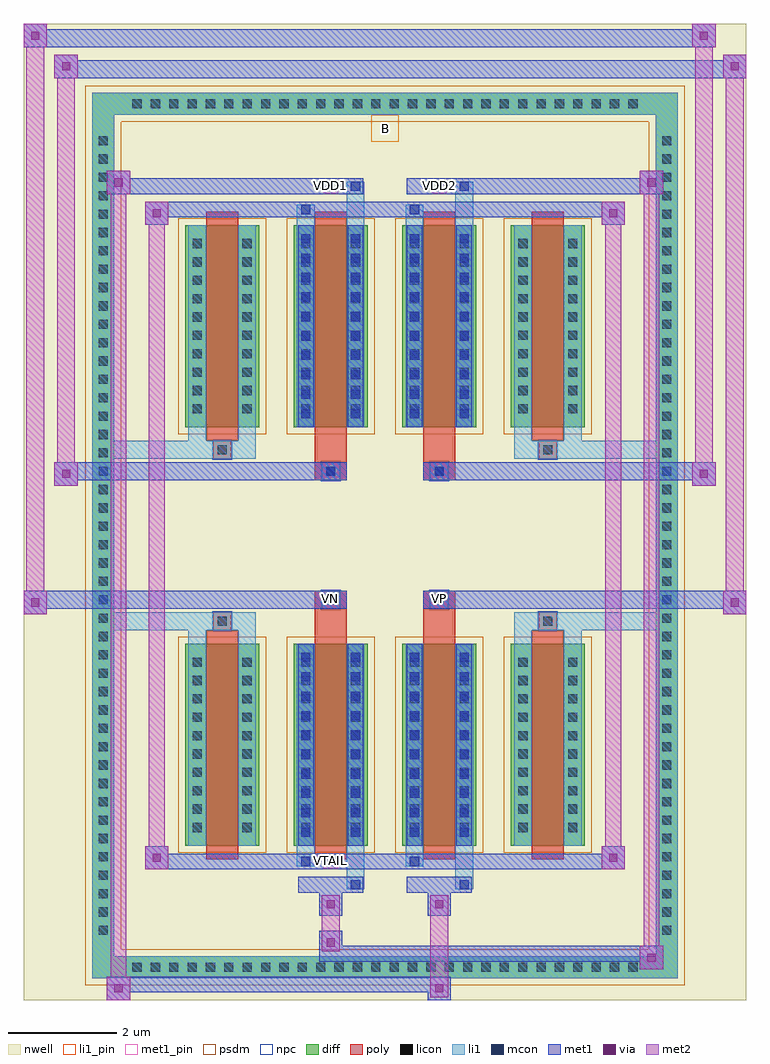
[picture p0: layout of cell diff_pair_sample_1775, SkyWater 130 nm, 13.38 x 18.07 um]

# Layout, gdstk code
import gdstk
lib = gdstk.Library(unit=1e-6, precision=5e-09)
def R(c, l, rs):  # rectangles x0, y0, x1, y1
    for r in rs: c.add(gdstk.rectangle(r[:2], r[2:], *l))
def A(c, l, x, y, w, h, nx, ny, dx, dy):  # array of equal rectangles
    R(c, l, [(x+i*dx, y+j*dy, x+i*dx+w, y+j*dy+h) for i in range(nx) for j in range(ny)])
def P(c, l, *ps):  # polygons
    for p in ps: c.add(gdstk.Polygon(p, *l))
nwell = (64, 20)
diff = (65, 20)
poly = (66, 20)
licon = (66, 44)
li1_pin = (67, 16)
li1 = (67, 20)
mcon = (67, 44)
met1_pin = (68, 16)
met1 = (68, 20)
via = (68, 44)
met2 = (69, 20)
psdm = (94, 20)
npc = (95, 20)

diff_pair_sample_1775 = lib.new_cell('diff_pair_sample_1775')
R(diff_pair_sample_1775, nwell, [(-6.69,-8.6,6.69,9.47), (-4.01,-6.79,-0.01,-0.825), (0.01,-6.79,4.01,-0.825), (-4.01,0.825,-0.01,6.79), (0.01,0.825,4.01,6.79)])
A(diff_pair_sample_1775, diff, -4.795, -8.2, 0.41, 0.41, 28, 2, 0.34, 15.99)
A(diff_pair_sample_1775, diff, -5.42, -7.515, 0.41, 0.41, 1, 44, 0, 0.34)
A(diff_pair_sample_1775, diff, 5.01, -7.515, 0.41, 0.41, 1, 44, 0, 0.34)
A(diff_pair_sample_1775, diff, -3.7, -5.745, 1.37, 3.74, 4, 2, 2.01, 7.75)
R(diff_pair_sample_1775, diff, [(-4.795,-8.2,4.795,-7.79), (-5.42,-7.515,-5.01,7.515), (5.01,-7.515,5.42,7.515), (-4.795,7.79,4.795,8.2)])
P(diff_pair_sample_1775, diff, [(5.42,8.2),(-5.42,8.2),(-5.42,-7.79),(-5.01,-7.79),(-5.01,7.79),(5.01,7.79),(5.01,-7.79),(-5.01,-7.79),(-5.42,-7.79),(-5.42,-8.2),(5.42,-8.2)])
A(diff_pair_sample_1775, poly, -3.31, -5.995, 0.59, 4.24, 4, 2, 2.01, 7.75)
R(diff_pair_sample_1775, poly, [(-3.18,-1.755,-2.85,-1.425), (-3.18,-1.755,-2.85,-1.425), (-1.3,-1.755,-0.71,-1.355), (0.71,-1.755,1.3,-1.355), (2.85,-1.755,3.18,-1.425), (2.85,-1.755,3.18,-1.425), (-1.3,-1.355,-0.71,-1.025), (-1.17,-1.355,-0.84,-1.025), (0.71,-1.355,1.3,-1.025), (0.84,-1.355,1.17,-1.025), (-1.3,1.025,-0.71,1.355), (-1.17,1.025,-0.84,1.355), (0.71,1.025,1.3,1.355), (0.84,1.025,1.17,1.355), (-1.3,1.355,-0.71,1.755), (0.71,1.355,1.3,1.755), (-3.18,1.425,-2.85,1.755), (-3.18,1.425,-2.85,1.755), (2.85,1.425,3.18,1.755), (2.85,1.425,3.18,1.755)])
A(diff_pair_sample_1775, licon, -4.675, -8.08, 0.17, 0.17, 28, 2, 0.34, 15.99)
A(diff_pair_sample_1775, licon, -5.3, -7.395, 0.17, 0.17, 1, 44, 0, 0.34)
A(diff_pair_sample_1775, licon, 5.13, -7.395, 0.17, 0.17, 1, 44, 0, 0.34)
A(diff_pair_sample_1775, licon, -3.56, -5.49, 0.17, 0.17, 1, 10, 0, 0.34)
A(diff_pair_sample_1775, licon, -2.64, -5.49, 0.17, 0.17, 1, 10, 0, 0.34)
A(diff_pair_sample_1775, licon, -1.55, -5.49, 0.17, 0.17, 1, 10, 0, 0.34)
A(diff_pair_sample_1775, licon, -0.63, -5.49, 0.17, 0.17, 1, 10, 0, 0.34)
A(diff_pair_sample_1775, licon, 0.46, -5.49, 0.17, 0.17, 1, 10, 0, 0.34)
A(diff_pair_sample_1775, licon, 1.38, -5.49, 0.17, 0.17, 1, 10, 0, 0.34)
A(diff_pair_sample_1775, licon, 2.47, -5.49, 0.17, 0.17, 1, 10, 0, 0.34)
A(diff_pair_sample_1775, licon, 3.39, -5.49, 0.17, 0.17, 1, 10, 0, 0.34)
A(diff_pair_sample_1775, licon, -3.56, 2.26, 0.17, 0.17, 1, 10, 0, 0.34)
A(diff_pair_sample_1775, licon, -2.64, 2.26, 0.17, 0.17, 1, 10, 0, 0.34)
A(diff_pair_sample_1775, licon, -1.55, 2.26, 0.17, 0.17, 1, 10, 0, 0.34)
A(diff_pair_sample_1775, licon, -0.63, 2.26, 0.17, 0.17, 1, 10, 0, 0.34)
A(diff_pair_sample_1775, licon, 0.46, 2.26, 0.17, 0.17, 1, 10, 0, 0.34)
A(diff_pair_sample_1775, licon, 1.38, 2.26, 0.17, 0.17, 1, 10, 0, 0.34)
A(diff_pair_sample_1775, licon, 2.47, 2.26, 0.17, 0.17, 1, 10, 0, 0.34)
A(diff_pair_sample_1775, licon, 3.39, 2.26, 0.17, 0.17, 1, 10, 0, 0.34)
R(diff_pair_sample_1775, licon, [(-3.1,-1.675,-2.93,-1.505), (2.93,-1.675,3.1,-1.505), (-1.09,-1.275,-0.92,-1.105), (0.92,-1.275,1.09,-1.105), (-1.09,1.105,-0.92,1.275), (0.92,1.105,1.09,1.275), (-3.1,1.505,-2.93,1.675), (2.93,1.505,3.1,1.675)])
R(diff_pair_sample_1775, li1_pin, [(-0.25,7.29,0.25,7.79)])
A(diff_pair_sample_1775, li1, -4.755, -8.16, 0.33, 0.33, 28, 2, 0.34, 15.99)
A(diff_pair_sample_1775, li1, -5.38, -7.475, 0.33, 0.33, 1, 44, 0, 0.34)
A(diff_pair_sample_1775, li1, 5.05, -7.475, 0.33, 0.33, 1, 44, 0, 0.34)
A(diff_pair_sample_1775, li1, -1.55, -5.58, 0.17, 0.17, 1, 10, 0, 0.36)
A(diff_pair_sample_1775, li1, -0.63, -5.58, 0.17, 0.17, 1, 10, 0, 0.36)
A(diff_pair_sample_1775, li1, 0.46, -5.58, 0.17, 0.17, 1, 10, 0, 0.36)
A(diff_pair_sample_1775, li1, 1.38, -5.58, 0.17, 0.17, 1, 10, 0, 0.36)
A(diff_pair_sample_1775, li1, -3.64, -5.57, 0.33, 0.33, 1, 10, 0, 0.34)
A(diff_pair_sample_1775, li1, -2.72, -5.57, 0.33, 0.33, 1, 10, 0, 0.34)
A(diff_pair_sample_1775, li1, -1.63, -5.57, 0.33, 0.33, 1, 10, 0, 0.34)
A(diff_pair_sample_1775, li1, -0.71, -5.57, 0.33, 0.33, 1, 10, 0, 0.34)
A(diff_pair_sample_1775, li1, 0.38, -5.57, 0.33, 0.33, 1, 10, 0, 0.34)
A(diff_pair_sample_1775, li1, 1.3, -5.57, 0.33, 0.33, 1, 10, 0, 0.34)
A(diff_pair_sample_1775, li1, 2.39, -5.57, 0.33, 0.33, 1, 10, 0, 0.34)
A(diff_pair_sample_1775, li1, 3.31, -5.57, 0.33, 0.33, 1, 10, 0, 0.34)
A(diff_pair_sample_1775, li1, -1.55, 2.17, 0.17, 0.17, 1, 10, 0, 0.36)
A(diff_pair_sample_1775, li1, -0.63, 2.17, 0.17, 0.17, 1, 10, 0, 0.36)
A(diff_pair_sample_1775, li1, 0.46, 2.17, 0.17, 0.17, 1, 10, 0, 0.36)
A(diff_pair_sample_1775, li1, 1.38, 2.17, 0.17, 0.17, 1, 10, 0, 0.36)
A(diff_pair_sample_1775, li1, -3.64, 2.18, 0.33, 0.33, 1, 10, 0, 0.34)
A(diff_pair_sample_1775, li1, -2.72, 2.18, 0.33, 0.33, 1, 10, 0, 0.34)
A(diff_pair_sample_1775, li1, -1.63, 2.18, 0.33, 0.33, 1, 10, 0, 0.34)
A(diff_pair_sample_1775, li1, -0.71, 2.18, 0.33, 0.33, 1, 10, 0, 0.34)
A(diff_pair_sample_1775, li1, 0.38, 2.18, 0.33, 0.33, 1, 10, 0, 0.34)
A(diff_pair_sample_1775, li1, 1.3, 2.18, 0.33, 0.33, 1, 10, 0, 0.34)
A(diff_pair_sample_1775, li1, 2.39, 2.18, 0.33, 0.33, 1, 10, 0, 0.34)
A(diff_pair_sample_1775, li1, 3.31, 2.18, 0.33, 0.33, 1, 10, 0, 0.34)
R(diff_pair_sample_1775, li1, [(-5.42,-8.2,-5.01,-7.79), (-5.42,-8.2,-5.01,-7.79), (-5.01,-8.2,5.01,-7.79), (5.01,-8.2,5.42,-7.79), (5.01,-8.2,5.42,-7.79), (-5.42,-7.79,-5.01,7.79), (5.01,-7.79,5.42,7.79), (-0.71,-6.55,-0.38,-5.745), (-0.63,-6.55,-0.46,-6.38), (1.3,-6.55,1.63,-5.745), (1.38,-6.55,1.55,-6.38), (-1.63,-6.12,-1.3,-5.745), (-1.55,-6.12,-1.38,-5.95), (0.38,-6.12,0.71,-5.745), (0.46,-6.12,0.63,-5.95), (-3.64,-5.745,-3.31,-2.005), (-2.72,-5.745,-2.39,-2.005), (-1.63,-5.745,-1.3,-2.005), (-0.71,-5.745,-0.38,-2.005), (0.38,-5.745,0.71,-2.005), (1.3,-5.745,1.63,-2.005), (2.39,-5.745,2.72,-2.005), (3.31,-5.745,3.64,-2.005), (-1.55,-5.58,-1.38,-2.17), (-0.63,-5.58,-0.46,-2.17), (0.46,-5.58,0.63,-2.17), (1.38,-5.58,1.55,-2.17), (-3.64,-2.005,-3.31,-1.425), (-2.72,-2.005,-2.39,-1.425), (2.39,-2.005,2.72,-1.425), (3.31,-2.005,3.64,-1.425), (-5.42,-1.755,-3.18,-1.425), (-3.64,-1.755,-3.18,-1.425), (-3.18,-1.755,-2.85,-1.425), (-2.85,-1.755,-2.39,-1.425), (2.39,-1.755,2.85,-1.425), (2.85,-1.755,3.18,-1.425), (2.85,-1.755,5.42,-1.425), (3.18,-1.755,3.64,-1.425), (-1.17,-1.355,-0.84,-1.025), (0.84,-1.355,1.17,-1.025), (-1.17,1.025,-0.84,1.355), (0.84,1.025,1.17,1.355), (-5.42,1.425,-3.18,1.755), (-3.64,1.425,-3.18,1.755), (-3.64,1.425,-3.31,2.005), (-3.18,1.425,-2.85,1.755), (-2.85,1.425,-2.39,1.755), (-2.72,1.425,-2.39,2.005), (2.39,1.425,2.85,1.755), (2.39,1.425,2.72,2.005), (2.85,1.425,3.18,1.755), (2.85,1.425,5.42,1.755), (3.18,1.425,3.64,1.755), (3.31,1.425,3.64,2.005), (-3.64,2.005,-3.31,5.745), (-2.72,2.005,-2.39,5.745), (-1.63,2.005,-1.3,5.745), (-0.71,2.005,-0.38,5.745), (0.38,2.005,0.71,5.745), (1.3,2.005,1.63,5.745), (2.39,2.005,2.72,5.745), (3.31,2.005,3.64,5.745), (-1.55,2.17,-1.38,5.58), (-0.63,2.17,-0.46,5.58), (0.46,2.17,0.63,5.58), (1.38,2.17,1.55,5.58), (-1.63,5.745,-1.3,6.12), (-0.71,5.745,-0.38,6.55), (0.38,5.745,0.71,6.12), (1.3,5.745,1.63,6.55), (-1.55,5.95,-1.38,6.12), (0.46,5.95,0.63,6.12), (-0.63,6.38,-0.46,6.55), (1.38,6.38,1.55,6.55), (-5.42,7.79,-5.01,8.2), (-5.42,7.79,-5.01,8.2), (-5.01,7.79,5.01,8.2), (5.01,7.79,5.42,8.2), (5.01,7.79,5.42,8.2)])
A(diff_pair_sample_1775, mcon, -1.55, -5.58, 0.17, 0.17, 1, 10, 0, 0.36)
A(diff_pair_sample_1775, mcon, -0.63, -5.58, 0.17, 0.17, 1, 10, 0, 0.36)
A(diff_pair_sample_1775, mcon, 0.46, -5.58, 0.17, 0.17, 1, 10, 0, 0.36)
A(diff_pair_sample_1775, mcon, 1.38, -5.58, 0.17, 0.17, 1, 10, 0, 0.36)
A(diff_pair_sample_1775, mcon, -1.55, 2.17, 0.17, 0.17, 1, 10, 0, 0.36)
A(diff_pair_sample_1775, mcon, -0.63, 2.17, 0.17, 0.17, 1, 10, 0, 0.36)
A(diff_pair_sample_1775, mcon, 0.46, 2.17, 0.17, 0.17, 1, 10, 0, 0.36)
A(diff_pair_sample_1775, mcon, 1.38, 2.17, 0.17, 0.17, 1, 10, 0, 0.36)
R(diff_pair_sample_1775, mcon, [(-0.63,-6.55,-0.46,-6.38), (1.38,-6.55,1.55,-6.38), (-1.55,-6.12,-1.38,-5.95), (0.46,-6.12,0.63,-5.95), (-1.09,-1.275,-0.92,-1.105), (0.92,-1.275,1.09,-1.105), (-1.09,1.105,-0.92,1.275), (0.92,1.105,1.09,1.275), (-1.55,5.95,-1.38,6.12), (0.46,5.95,0.63,6.12), (-0.63,6.38,-0.46,6.55), (1.38,6.38,1.55,6.55)])
R(diff_pair_sample_1775, met1_pin, [(-1.14,-6.16,-0.87,-5.89), (-1.14,-1.295,-0.87,-1.025), (0.87,-1.295,1.14,-1.025), (-1.14,6.34,-0.87,6.61), (0.87,6.34,1.14,6.61)])
A(diff_pair_sample_1775, met1, -1.61, -5.64, 0.29, 0.29, 1, 10, 0, 0.36)
A(diff_pair_sample_1775, met1, -0.69, -5.64, 0.29, 0.29, 1, 10, 0, 0.36)
A(diff_pair_sample_1775, met1, 0.4, -5.64, 0.29, 0.29, 1, 10, 0, 0.36)
A(diff_pair_sample_1775, met1, 1.32, -5.64, 0.29, 0.29, 1, 10, 0, 0.36)
A(diff_pair_sample_1775, met1, -1.61, 2.11, 0.29, 0.29, 1, 10, 0, 0.36)
A(diff_pair_sample_1775, met1, -0.69, 2.11, 0.29, 0.29, 1, 10, 0, 0.36)
A(diff_pair_sample_1775, met1, 0.4, 2.11, 0.29, 0.29, 1, 10, 0, 0.36)
A(diff_pair_sample_1775, met1, 1.32, 2.11, 0.29, 0.29, 1, 10, 0, 0.36)
R(diff_pair_sample_1775, met1, [(-5.15,-8.6,-4.72,-8.17), (0.79,-8.6,1.22,-8.17), (-5.15,-8.46,1.22,-8.17), (4.72,-8.03,5.15,-7.6), (-1.22,-7.89,5.15,-7.6), (-1.22,-7.75,-0.79,-7.32), (-1.22,-7.04,-0.79,-6.61), (0.79,-7.04,1.22,-6.61), (-1.61,-6.61,-0.4,-6.32), (-0.69,-6.61,-0.4,-6.32), (0.4,-6.61,1.61,-6.32), (1.32,-6.61,1.61,-6.32), (-4.44,-6.18,-4.01,-5.75), (-4.44,-6.18,-1.61,-5.89), (-1.61,-6.18,-1.32,-5.89), (-1.61,-6.18,-0.4,-5.89), (-0.4,-6.18,0.4,-5.89), (0.4,-6.18,0.69,-5.89), (0.4,-6.18,1.61,-5.89), (1.61,-6.18,4.44,-5.89), (4.01,-6.18,4.44,-5.75), (-1.61,-5.745,-1.32,-2.005), (-0.69,-5.745,-0.4,-2.005), (0.4,-5.745,0.69,-2.005), (1.32,-5.745,1.61,-2.005), (-6.69,-1.455,-6.26,-1.025), (6.26,-1.455,6.69,-1.025), (-6.69,-1.355,-0.71,-1.025), (-1.3,-1.355,-0.71,-1.025), (0.71,-1.355,1.3,-1.025), (0.71,-1.355,6.69,-1.025), (-1.15,-1.335,-0.86,-1.045), (0.86,-1.335,1.15,-1.045), (-6.12,0.925,-5.69,1.355), (5.69,0.925,6.12,1.355), (-6.12,1.025,-1.3,1.355), (-1.3,1.025,-0.71,1.355), (0.71,1.025,1.3,1.355), (1.3,1.025,6.12,1.355), (-1.15,1.045,-0.86,1.335), (0.86,1.045,1.15,1.335), (-1.61,2.005,-1.32,5.745), (-0.69,2.005,-0.4,5.745), (0.4,2.005,0.69,5.745), (1.32,2.005,1.61,5.745), (-4.44,5.75,-4.01,6.18), (4.01,5.75,4.44,6.18), (-4.44,5.89,-1.61,6.18), (-1.61,5.89,-1.32,6.18), (-1.61,5.89,-0.4,6.18), (-0.4,5.89,0.4,6.18), (0.4,5.89,0.69,6.18), (0.4,5.89,1.61,6.18), (1.61,5.89,4.44,6.18), (-5.15,6.32,-4.72,6.75), (-5.15,6.32,-1.61,6.61), (-1.61,6.32,-0.4,6.61), (-0.69,6.32,-0.4,6.61), (0.4,6.32,1.61,6.61), (1.32,6.32,1.61,6.61), (1.61,6.32,5.15,6.61), (4.72,6.32,5.15,6.75), (-6.12,8.47,-5.69,8.9), (-6.12,8.47,-4.01,8.8), (-4.01,8.47,4.01,8.8), (4.01,8.47,6.69,8.8), (6.26,8.47,6.69,8.9), (-6.69,9.04,-6.26,9.47), (-6.69,9.04,-4.01,9.37), (-4.01,9.04,4.01,9.37), (4.01,9.04,6.12,9.37), (5.69,9.04,6.12,9.47)])
R(diff_pair_sample_1775, via, [(-5.01,-8.46,-4.86,-8.31), (0.93,-8.46,1.08,-8.31), (4.86,-7.89,5.01,-7.74), (-1.08,-7.61,-0.93,-7.46), (-1.08,-6.9,-0.93,-6.75), (0.93,-6.9,1.08,-6.75), (-4.3,-6.04,-4.15,-5.89), (4.15,-6.04,4.3,-5.89), (-6.55,-1.315,-6.4,-1.165), (6.4,-1.315,6.55,-1.165), (-5.98,1.065,-5.83,1.215), (5.83,1.065,5.98,1.215), (-4.3,5.89,-4.15,6.04), (4.15,5.89,4.3,6.04), (-5.01,6.46,-4.86,6.61), (4.86,6.46,5.01,6.61), (-5.98,8.61,-5.83,8.76), (6.4,8.61,6.55,8.76), (-6.55,9.18,-6.4,9.33), (5.83,9.18,5.98,9.33)])
R(diff_pair_sample_1775, met2, [(-5.15,-8.6,-4.72,-8.17), (-5.08,-8.6,-4.79,6.75), (-4.79,-8.6,-4.72,-8.17), (-5.1,-8.55,-4.77,-8.22), (0.84,-8.55,1.17,-8.22), (0.84,-8.22,1.17,-6.99), (4.72,-8.03,5.15,-7.6), (4.79,-8.03,5.08,6.75), (5.08,-8.03,5.15,-7.6), (4.77,-7.98,5.1,-7.65), (-1.17,-7.7,-0.84,-7.37), (-1.17,-7.37,-0.84,-6.99), (-1.17,-6.99,-0.84,-6.66), (0.84,-6.99,1.17,-6.66), (-4.44,-6.18,-4.01,-5.75), (-4.37,-6.18,-4.08,6.18), (-4.08,-6.18,-4.01,-5.75), (4.01,-6.18,4.44,-5.75), (4.08,-6.18,4.37,6.18), (4.37,-6.18,4.44,-5.75), (-4.39,-6.13,-4.06,-5.8), (4.06,-6.13,4.39,-5.8), (-6.69,-1.455,-6.26,-1.025), (-6.64,-1.455,-6.31,9.47), (-6.31,-1.455,-6.26,-1.025), (6.26,-1.455,6.69,-1.025), (6.31,-1.455,6.64,8.9), (6.64,-1.455,6.69,-1.025), (-6.64,-1.405,-6.31,-1.075), (6.31,-1.405,6.64,-1.075), (-6.12,0.925,-5.69,1.355), (-6.07,0.925,-5.74,8.9), (-5.74,0.925,-5.69,1.355), (5.69,0.925,6.12,1.355), (5.74,0.925,6.07,9.47), (6.07,0.925,6.12,1.355), (-6.07,0.975,-5.74,1.305), (5.74,0.975,6.07,1.305), (-4.44,5.75,-4.01,6.18), (-4.08,5.75,-4.01,6.18), (4.01,5.75,4.44,6.18), (4.37,5.75,4.44,6.18), (-4.39,5.8,-4.06,6.13), (4.06,5.8,4.39,6.13), (-5.15,6.32,-4.72,6.75), (-4.79,6.32,-4.72,6.75), (4.72,6.32,5.15,6.75), (5.08,6.32,5.15,6.75), (-5.1,6.37,-4.77,6.7), (4.77,6.37,5.1,6.7), (-6.12,8.47,-5.69,8.9), (-5.74,8.47,-5.69,8.9), (6.26,8.47,6.69,8.9), (6.64,8.47,6.69,8.9), (-6.07,8.52,-5.74,8.85), (6.31,8.52,6.64,8.85), (-6.69,9.04,-6.26,9.47), (-6.31,9.04,-6.26,9.47), (5.69,9.04,6.12,9.47), (6.07,9.04,6.12,9.47), (-6.64,9.09,-6.31,9.42), (5.74,9.09,6.07,9.42)])
A(diff_pair_sample_1775, psdm, -3.83, -5.875, 1.63, 4, 4, 2, 2.01, 7.75)
P(diff_pair_sample_1775, psdm, [(5.55,8.33),(-5.55,8.33),(-5.55,-7.66),(-4.88,-7.66),(-4.88,7.66),(4.88,7.66),(4.88,-7.66),(-4.88,-7.66),(-5.55,-7.66),(-5.55,-8.33),(5.55,-8.33)])
R(diff_pair_sample_1775, npc, [(-3.2,-1.775,-2.83,-1.405), (2.83,-1.775,3.2,-1.405), (-1.19,-1.375,-0.82,-1.005), (0.82,-1.375,1.19,-1.005), (-1.19,1.005,-0.82,1.375), (0.82,1.005,1.19,1.375), (-3.2,1.405,-2.83,1.775), (2.83,1.405,3.2,1.775)])
diff_pair_sample_1775.add(gdstk.Label('VTAIL', (-1.005,-6.025), layer=68, texttype=5))
diff_pair_sample_1775.add(gdstk.Label('VN', (-1.005,-1.16), layer=68, texttype=5))
diff_pair_sample_1775.add(gdstk.Label('VP', (1.005,-1.16), layer=68, texttype=5))
diff_pair_sample_1775.add(gdstk.Label('B', (0,7.54), layer=67, texttype=5))
diff_pair_sample_1775.add(gdstk.Label('VDD2', (1.005,6.475), layer=68, texttype=5))
diff_pair_sample_1775.add(gdstk.Label('VDD1', (-1.005,6.475), layer=68, texttype=5))

lib.write_gds('diff_pair_sample_1775.gds')
